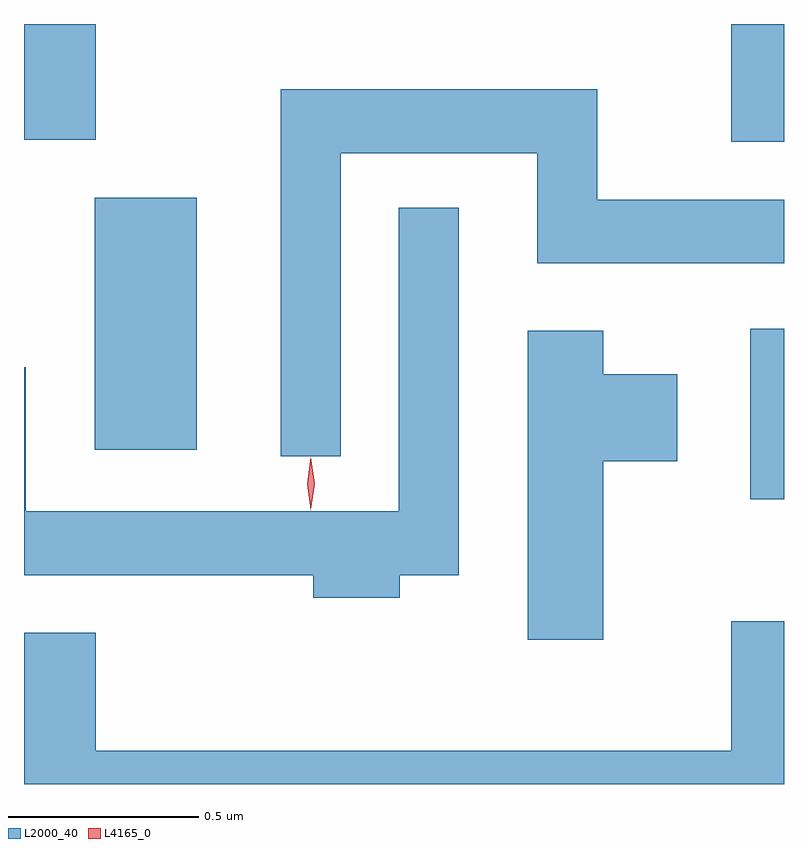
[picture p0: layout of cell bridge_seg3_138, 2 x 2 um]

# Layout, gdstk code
import gdstk
lib = gdstk.Library(unit=1e-6, precision=1e-09)
def R(c, l, rs):  # rectangles x0, y0, x1, y1
    for r in rs: c.add(gdstk.rectangle(r[:2], r[2:], *l))
def P(c, l, *ps):  # polygons
    for p in ps: c.add(gdstk.Polygon(p, *l))
L2000_40 = (2000, 40)
L4165_0 = (4165, 0)

bridge_seg3_138 = lib.new_cell('bridge_seg3_138')
R(bridge_seg3_138, L2000_40, [(874.851,1189.106,874.94,1189.554), (873.126,1189.236,873.394,1189.899), (874.801,1190.046,874.94,1190.356), (872.94,1190.051,873.129,1190.356)])
P(bridge_seg3_138, L2000_40, [(873.774,1190.016),(874.291,1190.016),(874.291,1189.726),(874.94,1189.726),(874.94,1189.894),(874.449,1189.894),(874.449,1190.184),(873.616,1190.184),(873.616,1189.218),(873.774,1189.218)],
  [(873.929,1188.906),(874.084,1188.906),(874.084,1189.873),(873.926,1189.873),(873.926,1189.074),(872.944,1189.074),(872.944,1189.453),(872.94,1189.453),(872.94,1188.906),(873.701,1188.906),(873.701,1188.846),(873.929,1188.846)],
  [(874.464,1189.206),(874.659,1189.206),(874.659,1189.434),(874.464,1189.434),(874.464,1189.549),(874.266,1189.549),(874.266,1188.736),(874.464,1188.736)],
  [(874.94,1188.784),(874.801,1188.784),(874.801,1188.444),(873.129,1188.444),(873.129,1188.754),(872.94,1188.754),(872.94,1188.356),(874.94,1188.356)])
P(bridge_seg3_138, L4165_0, [(873.695,1189.077),(873.694,1189.078),(873.685,1189.146),(873.694,1189.216),(873.695,1189.216),(873.695,1189.216),(873.705,1189.146),(873.695,1189.078)],
  [(873.695,1189.079),(873.694,1189.08),(873.685,1189.146),(873.694,1189.212),(873.695,1189.213),(873.695,1189.212),(873.705,1189.146),(873.695,1189.08)])

lib.write_gds('bridge_seg3_138.gds')
